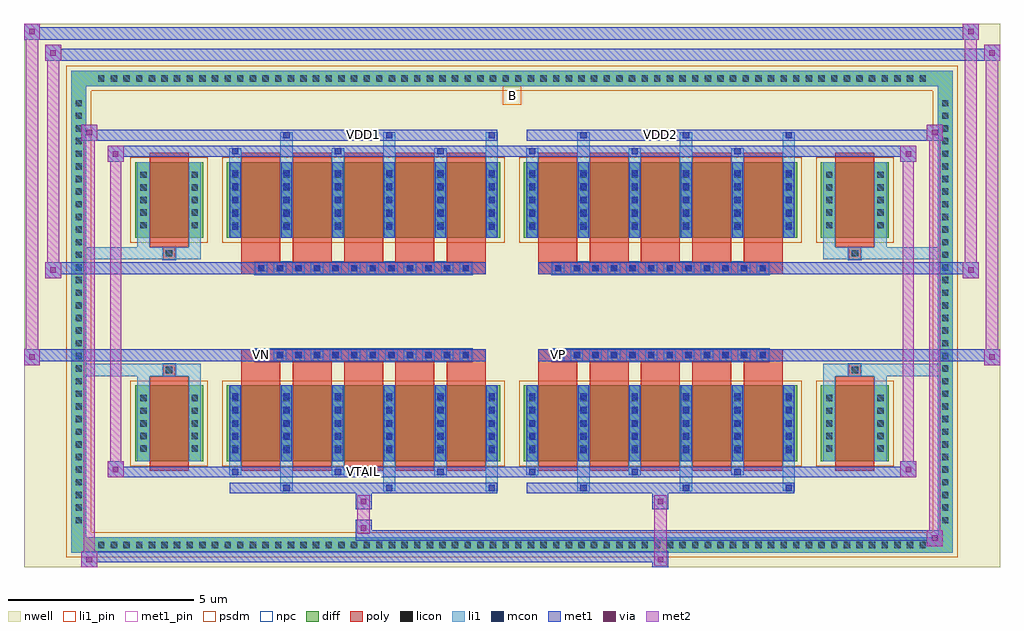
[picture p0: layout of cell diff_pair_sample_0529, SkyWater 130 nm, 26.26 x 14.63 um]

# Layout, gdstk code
import gdstk
lib = gdstk.Library(unit=1e-6, precision=5e-09)
def R(c, l, rs):  # rectangles x0, y0, x1, y1
    for r in rs: c.add(gdstk.rectangle(r[:2], r[2:], *l))
def A(c, l, x, y, w, h, nx, ny, dx, dy):  # array of equal rectangles
    R(c, l, [(x+i*dx, y+j*dy, x+i*dx+w, y+j*dy+h) for i in range(nx) for j in range(ny)])
def P(c, l, *ps):  # polygons
    for p in ps: c.add(gdstk.Polygon(p, *l))
nwell = (64, 20)
diff = (65, 20)
poly = (66, 20)
licon = (66, 44)
li1_pin = (67, 16)
li1 = (67, 20)
mcon = (67, 44)
met1_pin = (68, 16)
met1 = (68, 20)
via = (68, 44)
met2 = (69, 20)
psdm = (94, 20)
npc = (95, 20)

diff_pair_sample_0529 = lib.new_cell('diff_pair_sample_0529')
R(diff_pair_sample_0529, nwell, [(-13.13,-6.88,13.13,7.75), (-10.45,-5.07,-0.01,-0.805), (0.01,-5.07,10.45,-0.805), (-10.45,0.805,-0.01,5.07), (0.01,0.805,10.45,5.07)])
A(diff_pair_sample_0529, diff, -11.255, -6.48, 0.41, 0.41, 66, 2, 0.34, 12.55)
A(diff_pair_sample_0529, diff, -11.86, -5.815, 0.41, 0.41, 1, 34, 0, 0.34)
A(diff_pair_sample_0529, diff, 11.45, -5.815, 0.41, 0.41, 1, 34, 0, 0.34)
R(diff_pair_sample_0529, diff, [(-11.255,-6.48,11.255,-6.07), (-11.86,-5.815,-11.45,5.815), (11.45,-5.815,11.86,5.815), (-10.14,-4.025,-8.31,-1.985), (-7.67,-4.025,-0.32,-1.985), (0.32,-4.025,7.67,-1.985), (8.31,-4.025,10.14,-1.985), (-10.14,1.985,-8.31,4.025), (-7.67,1.985,-0.32,4.025), (0.32,1.985,7.67,4.025), (8.31,1.985,10.14,4.025), (-11.255,6.07,11.255,6.48)])
P(diff_pair_sample_0529, diff, [(11.86,6.48),(-11.86,6.48),(-11.86,-6.07),(-11.45,-6.07),(-11.45,6.07),(11.45,6.07),(11.45,-6.07),(-11.45,-6.07),(-11.86,-6.07),(-11.86,-6.48),(11.86,-6.48)])
A(diff_pair_sample_0529, poly, -7.28, -4.275, 1.05, 2.54, 5, 2, 1.38, 6.01)
A(diff_pair_sample_0529, poly, 0.71, -4.275, 1.05, 2.54, 5, 2, 1.38, 6.01)
A(diff_pair_sample_0529, poly, -7.28, -1.735, 1.05, 0.4, 5, 2, 1.38, 3.07)
A(diff_pair_sample_0529, poly, 0.71, -1.735, 1.05, 0.4, 5, 2, 1.38, 3.07)
A(diff_pair_sample_0529, poly, -6.91, -1.335, 0.33, 0.33, 12, 2, 0.5, 2.34)
A(diff_pair_sample_0529, poly, 1.08, -1.335, 0.33, 0.33, 12, 2, 0.5, 2.34)
R(diff_pair_sample_0529, poly, [(-9.75,-4.275,-8.7,-1.735), (8.7,-4.275,9.75,-1.735), (-9.39,-1.735,-9.06,-1.405), (-9.39,-1.735,-9.06,-1.405), (9.06,-1.735,9.39,-1.405), (9.06,-1.735,9.39,-1.405), (-7.28,-1.335,-0.71,-1.005), (0.71,-1.335,7.28,-1.005), (-7.28,1.005,-0.71,1.335), (0.71,1.005,7.28,1.335), (-9.39,1.405,-9.06,1.735), (-9.39,1.405,-9.06,1.735), (9.06,1.405,9.39,1.735), (9.06,1.405,9.39,1.735), (-9.75,1.735,-8.7,4.275), (8.7,1.735,9.75,4.275)])
A(diff_pair_sample_0529, licon, -11.135, -6.36, 0.17, 0.17, 66, 2, 0.34, 12.55)
A(diff_pair_sample_0529, licon, -11.74, -5.695, 0.17, 0.17, 1, 34, 0, 0.34)
A(diff_pair_sample_0529, licon, 11.57, -5.695, 0.17, 0.17, 1, 34, 0, 0.34)
A(diff_pair_sample_0529, licon, -10, -3.77, 0.17, 0.17, 1, 5, 0, 0.34)
A(diff_pair_sample_0529, licon, -8.62, -3.77, 0.17, 0.17, 1, 5, 0, 0.34)
A(diff_pair_sample_0529, licon, -7.53, -3.77, 0.17, 0.17, 6, 5, 1.38, 0.34)
A(diff_pair_sample_0529, licon, 0.46, -3.77, 0.17, 0.17, 6, 5, 1.38, 0.34)
A(diff_pair_sample_0529, licon, 8.45, -3.77, 0.17, 0.17, 1, 5, 0, 0.34)
A(diff_pair_sample_0529, licon, 9.83, -3.77, 0.17, 0.17, 1, 5, 0, 0.34)
A(diff_pair_sample_0529, licon, -6.83, -1.255, 0.17, 0.17, 12, 2, 0.5, 2.34)
A(diff_pair_sample_0529, licon, 1.16, -1.255, 0.17, 0.17, 12, 2, 0.5, 2.34)
A(diff_pair_sample_0529, licon, -10, 2.24, 0.17, 0.17, 1, 5, 0, 0.34)
A(diff_pair_sample_0529, licon, -8.62, 2.24, 0.17, 0.17, 1, 5, 0, 0.34)
A(diff_pair_sample_0529, licon, -7.53, 2.24, 0.17, 0.17, 6, 5, 1.38, 0.34)
A(diff_pair_sample_0529, licon, 0.46, 2.24, 0.17, 0.17, 6, 5, 1.38, 0.34)
A(diff_pair_sample_0529, licon, 8.45, 2.24, 0.17, 0.17, 1, 5, 0, 0.34)
A(diff_pair_sample_0529, licon, 9.83, 2.24, 0.17, 0.17, 1, 5, 0, 0.34)
R(diff_pair_sample_0529, licon, [(-9.31,-1.655,-9.14,-1.485), (9.14,-1.655,9.31,-1.485), (-9.31,1.485,-9.14,1.655), (9.14,1.485,9.31,1.655)])
R(diff_pair_sample_0529, li1_pin, [(-0.25,5.57,0.25,6.07)])
A(diff_pair_sample_0529, li1, -11.215, -6.44, 0.33, 0.33, 66, 2, 0.34, 12.55)
A(diff_pair_sample_0529, li1, -11.82, -5.775, 0.33, 0.33, 1, 34, 0, 0.34)
A(diff_pair_sample_0529, li1, 11.49, -5.775, 0.33, 0.33, 1, 34, 0, 0.34)
A(diff_pair_sample_0529, li1, -6.23, -4.83, 0.33, 0.805, 3, 2, 2.76, 8.855)
A(diff_pair_sample_0529, li1, -6.15, -4.83, 0.17, 0.17, 3, 2, 2.76, 9.49)
A(diff_pair_sample_0529, li1, 1.76, -4.83, 0.33, 0.805, 3, 2, 2.76, 8.855)
A(diff_pair_sample_0529, li1, 1.84, -4.83, 0.17, 0.17, 3, 2, 2.76, 9.49)
A(diff_pair_sample_0529, li1, -7.61, -4.4, 0.33, 0.375, 3, 2, 2.76, 8.425)
A(diff_pair_sample_0529, li1, -7.53, -4.4, 0.17, 0.17, 3, 2, 2.76, 8.63)
A(diff_pair_sample_0529, li1, 0.38, -4.4, 0.33, 0.375, 3, 2, 2.76, 8.425)
A(diff_pair_sample_0529, li1, 0.46, -4.4, 0.17, 0.17, 3, 2, 2.76, 8.63)
A(diff_pair_sample_0529, li1, -7.61, -4.025, 0.33, 2.04, 6, 2, 1.38, 6.01)
A(diff_pair_sample_0529, li1, 0.38, -4.025, 0.33, 2.04, 6, 2, 1.38, 6.01)
A(diff_pair_sample_0529, li1, -10.08, -3.85, 0.33, 0.33, 1, 5, 0, 0.34)
A(diff_pair_sample_0529, li1, -8.7, -3.85, 0.33, 0.33, 1, 5, 0, 0.34)
A(diff_pair_sample_0529, li1, -7.61, -3.85, 0.33, 0.33, 6, 5, 1.38, 0.34)
A(diff_pair_sample_0529, li1, 0.38, -3.85, 0.33, 0.33, 6, 5, 1.38, 0.34)
A(diff_pair_sample_0529, li1, 8.37, -3.85, 0.33, 0.33, 1, 5, 0, 0.34)
A(diff_pair_sample_0529, li1, 9.75, -3.85, 0.33, 0.33, 1, 5, 0, 0.34)
A(diff_pair_sample_0529, li1, -7.53, -3.81, 0.17, 0.17, 6, 5, 1.38, 0.36)
A(diff_pair_sample_0529, li1, -7.53, -3.81, 0.17, 1.61, 6, 2, 1.38, 6.01)
A(diff_pair_sample_0529, li1, 0.46, -3.81, 0.17, 0.17, 6, 5, 1.38, 0.36)
A(diff_pair_sample_0529, li1, 0.46, -3.81, 0.17, 1.61, 6, 2, 1.38, 6.01)
A(diff_pair_sample_0529, li1, -6.91, -1.335, 0.33, 0.33, 12, 2, 0.5, 2.34)
A(diff_pair_sample_0529, li1, 1.08, -1.335, 0.33, 0.33, 12, 2, 0.5, 2.34)
A(diff_pair_sample_0529, li1, -10.08, 2.16, 0.33, 0.33, 1, 5, 0, 0.34)
A(diff_pair_sample_0529, li1, -8.7, 2.16, 0.33, 0.33, 1, 5, 0, 0.34)
A(diff_pair_sample_0529, li1, -7.61, 2.16, 0.33, 0.33, 6, 5, 1.38, 0.34)
A(diff_pair_sample_0529, li1, 0.38, 2.16, 0.33, 0.33, 6, 5, 1.38, 0.34)
A(diff_pair_sample_0529, li1, 8.37, 2.16, 0.33, 0.33, 1, 5, 0, 0.34)
A(diff_pair_sample_0529, li1, 9.75, 2.16, 0.33, 0.33, 1, 5, 0, 0.34)
A(diff_pair_sample_0529, li1, -7.53, 2.2, 0.17, 0.17, 6, 5, 1.38, 0.36)
A(diff_pair_sample_0529, li1, 0.46, 2.2, 0.17, 0.17, 6, 5, 1.38, 0.36)
R(diff_pair_sample_0529, li1, [(-11.86,-6.48,-11.45,-6.07), (-11.86,-6.48,-11.45,-6.07), (-11.45,-6.48,11.45,-6.07), (11.45,-6.48,11.86,-6.07), (11.45,-6.48,11.86,-6.07), (-11.86,-6.07,-11.45,6.07), (11.45,-6.07,11.86,6.07), (-10.08,-4.025,-9.75,-1.985), (-8.7,-4.025,-8.37,-1.985), (8.37,-4.025,8.7,-1.985), (9.75,-4.025,10.08,-1.985), (-10.08,-1.985,-9.75,-1.405), (-8.7,-1.985,-8.37,-1.405), (8.37,-1.985,8.7,-1.405), (9.75,-1.985,10.08,-1.405), (-11.86,-1.735,-9.39,-1.405), (-10.08,-1.735,-9.39,-1.405), (-9.39,-1.735,-9.06,-1.405), (-9.06,-1.735,-8.37,-1.405), (8.37,-1.735,9.06,-1.405), (9.06,-1.735,9.39,-1.405), (9.06,-1.735,11.86,-1.405), (9.39,-1.735,10.08,-1.405), (-11.86,1.405,-9.39,1.735), (-10.08,1.405,-9.39,1.735), (-10.08,1.405,-9.75,1.985), (-9.39,1.405,-9.06,1.735), (-9.06,1.405,-8.37,1.735), (-8.7,1.405,-8.37,1.985), (8.37,1.405,9.06,1.735), (8.37,1.405,8.7,1.985), (9.06,1.405,9.39,1.735), (9.06,1.405,11.86,1.735), (9.39,1.405,10.08,1.735), (9.75,1.405,10.08,1.985), (-10.08,1.985,-9.75,4.025), (-8.7,1.985,-8.37,4.025), (8.37,1.985,8.7,4.025), (9.75,1.985,10.08,4.025), (-11.86,6.07,-11.45,6.48), (-11.86,6.07,-11.45,6.48), (-11.45,6.07,11.45,6.48), (11.45,6.07,11.86,6.48), (11.45,6.07,11.86,6.48)])
A(diff_pair_sample_0529, mcon, -6.15, -4.83, 0.17, 0.17, 3, 2, 2.76, 9.49)
A(diff_pair_sample_0529, mcon, 1.84, -4.83, 0.17, 0.17, 3, 2, 2.76, 9.49)
A(diff_pair_sample_0529, mcon, -7.53, -4.4, 0.17, 0.17, 3, 2, 2.76, 8.63)
A(diff_pair_sample_0529, mcon, 0.46, -4.4, 0.17, 0.17, 3, 2, 2.76, 8.63)
A(diff_pair_sample_0529, mcon, -7.53, -3.81, 0.17, 0.17, 6, 5, 1.38, 0.36)
A(diff_pair_sample_0529, mcon, 0.46, -3.81, 0.17, 0.17, 6, 5, 1.38, 0.36)
A(diff_pair_sample_0529, mcon, -6.83, -1.255, 0.17, 0.17, 12, 2, 0.5, 2.34)
A(diff_pair_sample_0529, mcon, 1.16, -1.255, 0.17, 0.17, 12, 2, 0.5, 2.34)
A(diff_pair_sample_0529, mcon, -7.53, 2.2, 0.17, 0.17, 6, 5, 1.38, 0.36)
A(diff_pair_sample_0529, mcon, 0.46, 2.2, 0.17, 0.17, 6, 5, 1.38, 0.36)
R(diff_pair_sample_0529, met1_pin, [(-4.13,-4.44,-3.86,-4.17), (-6.88,-1.295,-6.61,-1.025), (1.11,-1.295,1.38,-1.025), (-4.13,4.62,-3.86,4.89), (3.86,4.62,4.13,4.89)])
A(diff_pair_sample_0529, met1, -6.21, -4.89, 0.29, 0.29, 3, 2, 2.76, 9.49)
A(diff_pair_sample_0529, met1, 1.78, -4.89, 0.29, 0.29, 3, 2, 2.76, 9.49)
A(diff_pair_sample_0529, met1, -7.59, -4.46, 0.29, 0.29, 3, 2, 2.76, 8.63)
A(diff_pair_sample_0529, met1, 0.4, -4.46, 0.29, 0.29, 3, 2, 2.76, 8.63)
A(diff_pair_sample_0529, met1, -7.59, -4.025, 0.29, 2.04, 6, 2, 1.38, 6.01)
A(diff_pair_sample_0529, met1, 0.4, -4.025, 0.29, 2.04, 6, 2, 1.38, 6.01)
A(diff_pair_sample_0529, met1, -7.59, -3.87, 0.29, 0.29, 6, 5, 1.38, 0.36)
A(diff_pair_sample_0529, met1, 0.4, -3.87, 0.29, 0.29, 6, 5, 1.38, 0.36)
A(diff_pair_sample_0529, met1, -6.89, -1.315, 0.29, 0.29, 12, 2, 0.5, 2.34)
A(diff_pair_sample_0529, met1, 1.1, -1.315, 0.29, 0.29, 12, 2, 0.5, 2.34)
A(diff_pair_sample_0529, met1, -7.59, 2.14, 0.29, 0.29, 6, 5, 1.38, 0.36)
A(diff_pair_sample_0529, met1, 0.4, 2.14, 0.29, 0.29, 6, 5, 1.38, 0.36)
R(diff_pair_sample_0529, met1, [(-11.59,-6.88,-11.16,-6.45), (3.78,-6.88,4.21,-6.45), (-11.59,-6.74,4.21,-6.45), (11.16,-6.31,11.59,-5.88), (-4.21,-6.17,11.59,-5.88), (-4.21,-6.03,-3.78,-5.6), (-4.21,-5.32,-3.78,-4.89), (3.78,-5.32,4.21,-4.89), (-7.59,-4.89,-0.4,-4.6), (0.4,-4.89,7.59,-4.6), (-10.88,-4.46,-10.45,-4.03), (-10.88,-4.46,-7.59,-4.17), (-7.59,-4.46,-0.4,-4.17), (-0.4,-4.46,0.4,-4.17), (0.4,-4.46,7.59,-4.17), (7.59,-4.46,10.88,-4.17), (10.45,-4.46,10.88,-4.03), (-13.13,-1.435,-12.7,-1.005), (12.7,-1.435,13.13,-1.005), (-13.13,-1.335,-0.71,-1.005), (-7.28,-1.335,-0.71,-1.005), (0.71,-1.335,7.28,-1.005), (0.71,-1.335,13.13,-1.005), (-12.56,0.905,-12.13,1.335), (12.13,0.905,12.56,1.335), (-12.56,1.005,-7.28,1.335), (-7.28,1.005,-0.71,1.335), (0.71,1.005,7.28,1.335), (7.28,1.005,12.56,1.335), (-10.88,4.03,-10.45,4.46), (10.45,4.03,10.88,4.46), (-10.88,4.17,-7.59,4.46), (-7.59,4.17,-0.4,4.46), (-0.4,4.17,0.4,4.46), (0.4,4.17,7.59,4.46), (7.59,4.17,10.88,4.46), (-11.59,4.6,-11.16,5.03), (-11.59,4.6,-7.59,4.89), (-7.59,4.6,-0.4,4.89), (0.4,4.6,7.59,4.89), (7.59,4.6,11.59,4.89), (11.16,4.6,11.59,5.03), (-12.56,6.75,-12.13,7.18), (-12.56,6.75,-10.45,7.08), (-10.45,6.75,10.45,7.08), (10.45,6.75,13.13,7.08), (12.7,6.75,13.13,7.18), (-13.13,7.32,-12.7,7.75), (-13.13,7.32,-10.45,7.65), (-10.45,7.32,10.45,7.65), (10.45,7.32,12.56,7.65), (12.13,7.32,12.56,7.75)])
R(diff_pair_sample_0529, via, [(-11.45,-6.74,-11.3,-6.59), (3.92,-6.74,4.07,-6.59), (11.3,-6.17,11.45,-6.02), (-4.07,-5.89,-3.92,-5.74), (-4.07,-5.18,-3.92,-5.03), (3.92,-5.18,4.07,-5.03), (-10.74,-4.32,-10.59,-4.17), (10.59,-4.32,10.74,-4.17), (-12.99,-1.295,-12.84,-1.145), (12.84,-1.295,12.99,-1.145), (-12.42,1.045,-12.27,1.195), (12.27,1.045,12.42,1.195), (-10.74,4.17,-10.59,4.32), (10.59,4.17,10.74,4.32), (-11.45,4.74,-11.3,4.89), (11.3,4.74,11.45,4.89), (-12.42,6.89,-12.27,7.04), (12.84,6.89,12.99,7.04), (-12.99,7.46,-12.84,7.61), (12.27,7.46,12.42,7.61)])
R(diff_pair_sample_0529, met2, [(-11.59,-6.88,-11.16,-6.45), (-11.52,-6.88,-11.23,5.03), (-11.23,-6.88,-11.16,-6.45), (-11.54,-6.83,-11.21,-6.5), (3.83,-6.83,4.16,-6.5), (3.83,-6.5,4.16,-5.27), (11.16,-6.31,11.59,-5.88), (11.23,-6.31,11.52,5.03), (11.52,-6.31,11.59,-5.88), (11.21,-6.26,11.54,-5.93), (-4.16,-5.98,-3.83,-5.65), (-4.16,-5.65,-3.83,-5.27), (-4.16,-5.27,-3.83,-4.94), (3.83,-5.27,4.16,-4.94), (-10.88,-4.46,-10.45,-4.03), (-10.81,-4.46,-10.52,4.46), (-10.52,-4.46,-10.45,-4.03), (10.45,-4.46,10.88,-4.03), (10.52,-4.46,10.81,4.46), (10.81,-4.46,10.88,-4.03), (-10.83,-4.41,-10.5,-4.08), (10.5,-4.41,10.83,-4.08), (-13.13,-1.435,-12.7,-1.005), (-13.08,-1.435,-12.75,7.75), (-12.75,-1.435,-12.7,-1.005), (12.7,-1.435,13.13,-1.005), (12.75,-1.435,13.08,7.18), (13.08,-1.435,13.13,-1.005), (-13.08,-1.385,-12.75,-1.055), (12.75,-1.385,13.08,-1.055), (-12.56,0.905,-12.13,1.335), (-12.51,0.905,-12.18,7.18), (-12.18,0.905,-12.13,1.335), (12.13,0.905,12.56,1.335), (12.18,0.905,12.51,7.75), (12.51,0.905,12.56,1.335), (-12.51,0.955,-12.18,1.285), (12.18,0.955,12.51,1.285), (-10.88,4.03,-10.45,4.46), (-10.52,4.03,-10.45,4.46), (10.45,4.03,10.88,4.46), (10.81,4.03,10.88,4.46), (-10.83,4.08,-10.5,4.41), (10.5,4.08,10.83,4.41), (-11.59,4.6,-11.16,5.03), (-11.23,4.6,-11.16,5.03), (11.16,4.6,11.59,5.03), (11.52,4.6,11.59,5.03), (-11.54,4.65,-11.21,4.98), (11.21,4.65,11.54,4.98), (-12.56,6.75,-12.13,7.18), (-12.18,6.75,-12.13,7.18), (12.7,6.75,13.13,7.18), (13.08,6.75,13.13,7.18), (-12.51,6.8,-12.18,7.13), (12.75,6.8,13.08,7.13), (-13.13,7.32,-12.7,7.75), (-12.75,7.32,-12.7,7.75), (12.13,7.32,12.56,7.75), (12.51,7.32,12.56,7.75), (-13.08,7.37,-12.75,7.7), (12.18,7.37,12.51,7.7)])
R(diff_pair_sample_0529, psdm, [(-10.27,-4.155,-8.18,-1.855), (-7.8,-4.155,-0.19,-1.855), (0.19,-4.155,7.8,-1.855), (8.18,-4.155,10.27,-1.855), (-10.27,1.855,-8.18,4.155), (-7.8,1.855,-0.19,4.155), (0.19,1.855,7.8,4.155), (8.18,1.855,10.27,4.155)])
P(diff_pair_sample_0529, psdm, [(11.99,6.61),(-11.99,6.61),(-11.99,-5.94),(-11.32,-5.94),(-11.32,5.94),(11.32,5.94),(11.32,-5.94),(-11.32,-5.94),(-11.99,-5.94),(-11.99,-6.61),(11.99,-6.61)])
A(diff_pair_sample_0529, npc, -6.93, -1.355, 0.37, 0.37, 12, 2, 0.5, 2.34)
A(diff_pair_sample_0529, npc, 1.06, -1.355, 0.37, 0.37, 12, 2, 0.5, 2.34)
R(diff_pair_sample_0529, npc, [(-9.41,-1.755,-9.04,-1.385), (9.04,-1.755,9.41,-1.385), (-6.93,-1.355,-6.06,-0.985), (-6.93,-1.355,-6.06,-0.985), (-6.43,-1.355,-5.56,-0.985), (-6.43,-1.355,-5.56,-0.985), (-5.93,-1.355,-5.06,-0.985), (-5.93,-1.355,-5.06,-0.985), (-5.43,-1.355,-4.56,-0.985), (-5.43,-1.355,-4.56,-0.985), (-4.93,-1.355,-4.06,-0.985), (-4.93,-1.355,-4.06,-0.985), (-4.43,-1.355,-3.56,-0.985), (-4.43,-1.355,-3.56,-0.985), (-3.93,-1.355,-3.06,-0.985), (-3.93,-1.355,-3.06,-0.985), (-3.43,-1.355,-2.56,-0.985), (-3.43,-1.355,-2.56,-0.985), (-2.93,-1.355,-2.06,-0.985), (-2.93,-1.355,-2.06,-0.985), (-2.43,-1.355,-1.56,-0.985), (-2.43,-1.355,-1.56,-0.985), (-1.93,-1.355,-1.06,-0.985), (-1.93,-1.355,-1.06,-0.985), (1.06,-1.355,1.93,-0.985), (1.06,-1.355,1.93,-0.985), (1.56,-1.355,2.43,-0.985), (1.56,-1.355,2.43,-0.985), (2.06,-1.355,2.93,-0.985), (2.06,-1.355,2.93,-0.985), (2.56,-1.355,3.43,-0.985), (2.56,-1.355,3.43,-0.985), (3.06,-1.355,3.93,-0.985), (3.06,-1.355,3.93,-0.985), (3.56,-1.355,4.43,-0.985), (3.56,-1.355,4.43,-0.985), (4.06,-1.355,4.93,-0.985), (4.06,-1.355,4.93,-0.985), (4.56,-1.355,5.43,-0.985), (4.56,-1.355,5.43,-0.985), (5.06,-1.355,5.93,-0.985), (5.06,-1.355,5.93,-0.985), (5.56,-1.355,6.43,-0.985), (5.56,-1.355,6.43,-0.985), (6.06,-1.355,6.93,-0.985), (6.06,-1.355,6.93,-0.985), (-6.93,0.985,-6.06,1.355), (-6.93,0.985,-6.06,1.355), (-6.43,0.985,-5.56,1.355), (-6.43,0.985,-5.56,1.355), (-5.93,0.985,-5.06,1.355), (-5.93,0.985,-5.06,1.355), (-5.43,0.985,-4.56,1.355), (-5.43,0.985,-4.56,1.355), (-4.93,0.985,-4.06,1.355), (-4.93,0.985,-4.06,1.355), (-4.43,0.985,-3.56,1.355), (-4.43,0.985,-3.56,1.355), (-3.93,0.985,-3.06,1.355), (-3.93,0.985,-3.06,1.355), (-3.43,0.985,-2.56,1.355), (-3.43,0.985,-2.56,1.355), (-2.93,0.985,-2.06,1.355), (-2.93,0.985,-2.06,1.355), (-2.43,0.985,-1.56,1.355), (-2.43,0.985,-1.56,1.355), (-1.93,0.985,-1.06,1.355), (-1.93,0.985,-1.06,1.355), (1.06,0.985,1.93,1.355), (1.06,0.985,1.93,1.355), (1.56,0.985,2.43,1.355), (1.56,0.985,2.43,1.355), (2.06,0.985,2.93,1.355), (2.06,0.985,2.93,1.355), (2.56,0.985,3.43,1.355), (2.56,0.985,3.43,1.355), (3.06,0.985,3.93,1.355), (3.06,0.985,3.93,1.355), (3.56,0.985,4.43,1.355), (3.56,0.985,4.43,1.355), (4.06,0.985,4.93,1.355), (4.06,0.985,4.93,1.355), (4.56,0.985,5.43,1.355), (4.56,0.985,5.43,1.355), (5.06,0.985,5.93,1.355), (5.06,0.985,5.93,1.355), (5.56,0.985,6.43,1.355), (5.56,0.985,6.43,1.355), (6.06,0.985,6.93,1.355), (6.06,0.985,6.93,1.355), (-9.41,1.385,-9.04,1.755), (9.04,1.385,9.41,1.755)])
diff_pair_sample_0529.add(gdstk.Label('VTAIL', (-3.995,-4.305), layer=68, texttype=5))
diff_pair_sample_0529.add(gdstk.Label('VN', (-6.745,-1.16), layer=68, texttype=5))
diff_pair_sample_0529.add(gdstk.Label('VP', (1.245,-1.16), layer=68, texttype=5))
diff_pair_sample_0529.add(gdstk.Label('B', (0,5.82), layer=67, texttype=5))
diff_pair_sample_0529.add(gdstk.Label('VDD2', (3.995,4.755), layer=68, texttype=5))
diff_pair_sample_0529.add(gdstk.Label('VDD1', (-3.995,4.755), layer=68, texttype=5))

lib.write_gds('diff_pair_sample_0529.gds')
